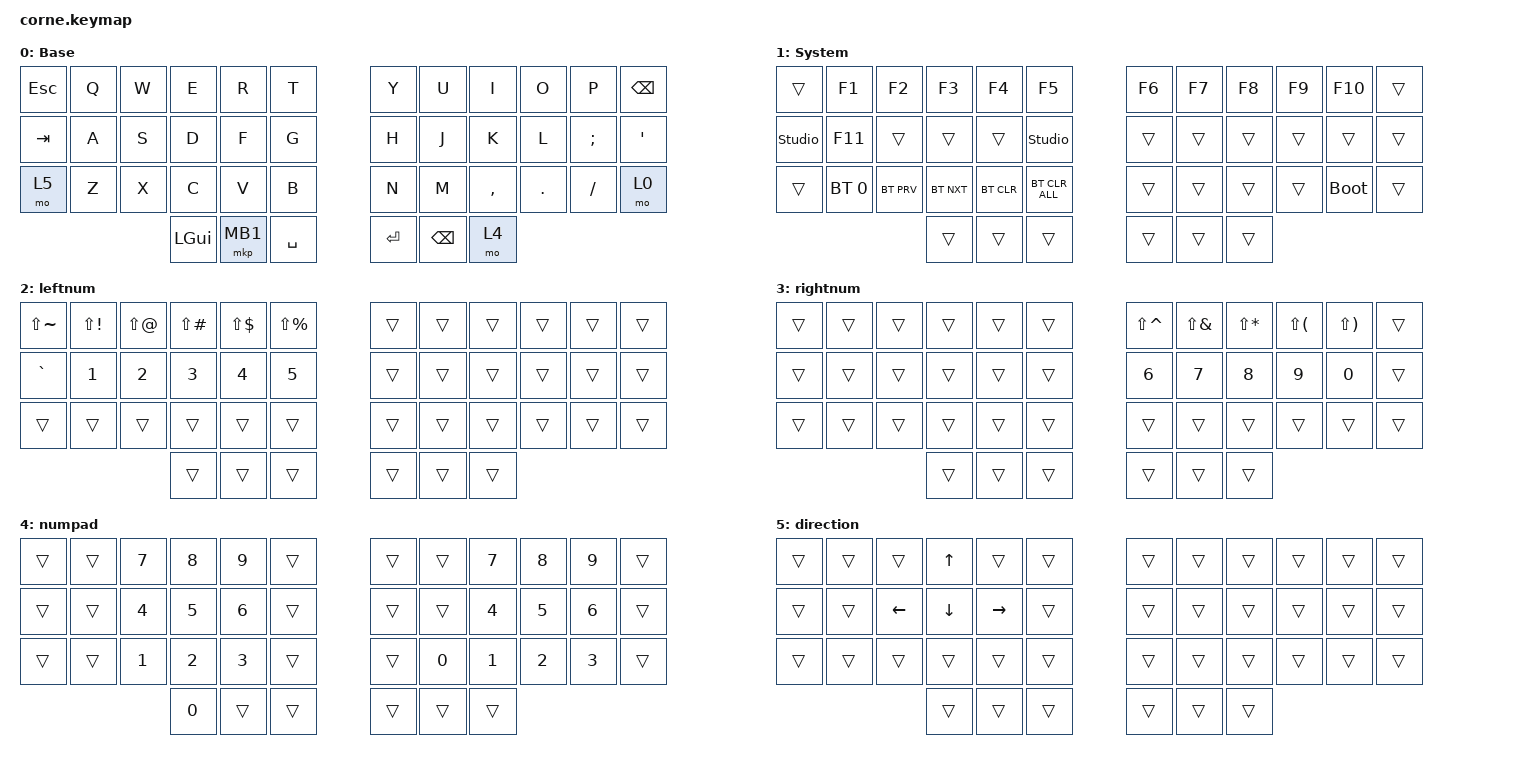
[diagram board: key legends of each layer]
#include <behaviors.dtsi>
#include <dt-bindings/zmk/bt.h>
#include <dt-bindings/zmk/keys.h>
#include <dt-bindings/zmk/pointing.h>

#define DEF 0
#define NAV 1
#define SYM 2
#define ADJ 3
#define EXTRA 4

&msc {
    time-to-max-speed-ms = <100>;
    acceleration-exponent = <0>;
};

/ {
    behaviors {
        hm: homerow_mods {
            compatible = "zmk,behavior-hold-tap";
            #binding-cells = <2>;
            tapping-term-ms = <200>;
            flavor = "tap-preferred";
            bindings = <&kp>, <&kp>;

            quick-tap-ms = <180>;
            require-prior-idle-ms = <120>; /* tune to taste */
        };

        para: para {
            compatible = "zmk,behavior-tap-dance";
            #binding-cells = <0>;
            bindings = <&kp LEFT_PARENTHESIS>, <&kp RIGHT_PARENTHESIS>;
        };

        caps: caps {
            compatible = "zmk,behavior-caps-word";
            #binding-cells = <0>;
            continue-list = <MINUS BACKSPACE>;
        };

        paraless: paraless {
            compatible = "zmk,behavior-mod-morph";
            bindings = <&kp LEFT_PARENTHESIS>, <&kp LESS_THAN>;

            #binding-cells = <0>;
            mods = <(MOD_LSFT)>;
        };

        paragreat: paragreat {
            compatible = "zmk,behavior-mod-morph";
            bindings = <&kp RIGHT_PARENTHESIS>, <&kp GREATER_THAN>;

            #binding-cells = <0>;
            mods = <(MOD_LSFT)>;
        };
    };

    macros {
        browsertab: browsertab {
            compatible = "zmk,behavior-macro";
            #binding-cells = <0>;
            bindings =
                <&macro_press>,
                <&kp LCTRL>,
                <&macro_tap>,
                <&kp TAB>,
                <&macro_release>,
                <&kp LCTRL>;
        };
    };

    combos {
        compatible = "zmk,combos";

        escape {
            bindings = <&kp ESCAPE>;
            key-positions = <0 38>;
        };

        delete {
            bindings = <&kp DELETE>;
            key-positions = <15 21>;
        };

        slash {
            bindings = <&kp SLASH>;
            key-positions = <32 20>;
            layers = <0>;
        };

        plus {
            bindings = <&kp PLUS>;
            key-positions = <7 19>;
            layers = <0>;
        };

        minus {
            bindings = <&kp KP_MINUS>;
            key-positions = <31 19>;
            layers = <0>;
        };

        underscore {
            bindings = <&kp UNDER>;
            key-positions = <30 18>;
            layers = <0>;
        };

        leftbrack {
            bindings = <&kp LEFT_BRACKET>;
            key-positions = <31 32>;
            layers = <0>;
        };

        rightbrack {
            bindings = <&kp RIGHT_BRACKET>;
            key-positions = <33 32>;
            layers = <0>;
        };

        ctrlc {
            bindings = <&kp LG(C)>;
            key-positions = <14 27>;
        };

        paste {
            bindings = <&kp LG(V)>;
            key-positions = <14 28>;
        };

        selectall {
            bindings = <&kp LG(A)>;
            key-positions = <14 13>;
        };

        ctrlz {
            bindings = <&kp LG(Z)>;
            key-positions = <14 25>;
        };

        scrollup {
            bindings = <&msc SCRL_UP>;
            key-positions = <5 17>;
        };

        scrolldown {
            bindings = <&msc SCRL_DOWN>;
            key-positions = <17 29>;
        };

        homerowshift {
            bindings = <&kp LEFT_SHIFT>;
            key-positions = <16 15>;
        };

        leftn {
            bindings = <&mo 2>;
            key-positions = <20 21>;
        };

        rightn {
            bindings = <&mo 3>;
            key-positions = <15 14>;
        };

        rshift {
            bindings = <&kp RIGHT_SHIFT>;
            key-positions = <20 19>;
        };
    };

    //

    keymap {
        compatible = "zmk,keymap";

        DEF {
            display-name = "Base";

            // -----------------------------------------------------------------------------------------
            // |  Q  |  W  |  E  |  R  |  T  |   |  Y  |  U   |  I  |  O  |  P  |
            // |  A  |  S  |  D  |  F  |  G  |   |  H  |  J   |  K  |  L  |  ;  |
            // |  Z  |  X  |  C  |  V  |  B  |   |  N  |  M   |  ,  |  .  |  /  |
            // | GUI | CTRL | SHFT | LWR | SPC |   | ENT | RSE  | BKSP | ALT | ESC |

            bindings = <
&kp ESCAPE  &kp Q  &kp W  &kp E     &kp R     &kp T        &kp Y    &kp U          &kp I      &kp O    &kp P     &kp BACKSPACE
&kp TAB     &kp A  &kp S  &kp D     &kp F     &kp G        &kp H    &kp J          &kp K      &kp L    &kp SEMI  &kp SQT
&mo 5       &kp Z  &kp X  &kp C     &kp V     &kp B        &kp N    &kp M          &kp COMMA  &kp DOT  &kp FSLH  &mo 0
                          &kp LGUI  &mkp MB1  &kp SPACE    &kp RET  &kp BACKSPACE  &mo 4
            >;
        };

        ADJ {
            display-name = "System";
            bindings = <
&trans          &kp F1        &kp F2      &kp F3      &kp F4      &kp F5            &kp F6  &kp F7  &kp F8  &kp F9  &kp F10      &trans
&studio_unlock  &kp F11       &trans      &trans      &trans      &studio_unlock    &trans  &trans  &trans  &trans  &trans       &trans
&trans          &bt BT_SEL 0  &bt BT_PRV  &bt BT_NXT  &bt BT_CLR  &bt BT_CLR_ALL    &trans  &trans  &trans  &trans  &bootloader  &trans
                                          &trans      &trans      &trans            &trans  &trans  &trans
            >;
        };

        leftnum {
            bindings = <
&kp LS(TILDE)  &kp LS(EXCL)  &kp LS(AT)  &kp LS(POUND)  &kp LS(DLLR)  &kp LS(PRCNT)    &trans  &trans  &trans  &trans  &trans  &trans
&kp GRAVE      &kp N1        &kp N2      &kp N3         &kp N4        &kp N5           &trans  &trans  &trans  &trans  &trans  &trans
&trans         &trans        &trans      &trans         &trans        &trans           &trans  &trans  &trans  &trans  &trans  &trans
                                         &trans         &trans        &trans           &trans  &trans  &trans
            >;
        };

        rightnum {
            bindings = <
&trans  &trans  &trans  &trans  &trans  &trans    &kp LS(CARET)  &kp LS(AMPS)  &kp LS(STAR)  &kp LS(LPAR)  &kp LS(RPAR)  &trans
&trans  &trans  &trans  &trans  &trans  &trans    &kp N6         &kp N7        &kp N8        &kp N9        &kp N0        &trans
&trans  &trans  &trans  &trans  &trans  &trans    &trans         &trans        &trans        &trans        &trans        &trans
                        &trans  &trans  &trans    &trans         &trans        &trans
            >;
        };

        numpad {
            bindings = <
&trans  &trans  &kp N7  &kp N8  &kp N9  &trans    &trans  &trans  &kp N7  &kp N8  &kp N9  &trans
&trans  &trans  &kp N4  &kp N5  &kp N6  &trans    &trans  &trans  &kp N4  &kp N5  &kp N6  &trans
&trans  &trans  &kp N1  &kp N2  &kp N3  &trans    &trans  &kp N0  &kp N1  &kp N2  &kp N3  &trans
                        &kp N0  &trans  &trans    &trans  &trans  &trans
            >;
        };

        direction {
            bindings = <
&trans  &trans  &trans    &kp UP_ARROW    &trans     &trans    &trans  &trans  &trans  &trans  &trans  &trans
&trans  &trans  &kp LEFT  &kp DOWN_ARROW  &kp RIGHT  &trans    &trans  &trans  &trans  &trans  &trans  &trans
&trans  &trans  &trans    &trans          &trans     &trans    &trans  &trans  &trans  &trans  &trans  &trans
                          &trans          &trans     &trans    &trans  &trans  &trans
            >;
        };
    };

    conditional_layers {
        compatible = "zmk,conditional-layers";

        device {
            if-layers = <2 3>;
            then-layer = <1>;
        };
    };
};
